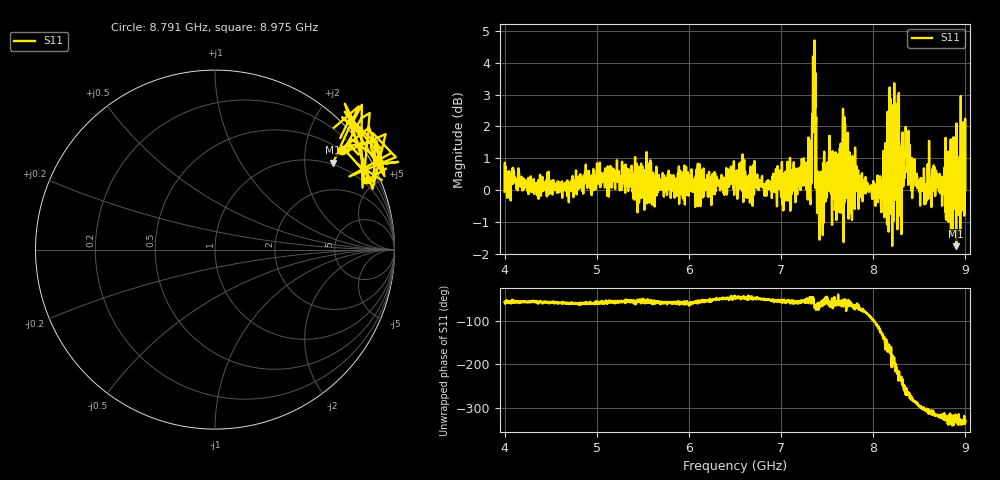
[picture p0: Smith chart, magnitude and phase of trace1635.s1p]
! Created with skrf 1.8.0 (http://scikit-rf.org).
# Hz S RI R 50.0
!freq ReS11 ImS11
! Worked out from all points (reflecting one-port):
!   1601 points, 4 GHz to 9 GHz, reference 50 ohm
!   lowest |S11| = -1.8 dB at 8.9 GHz (marker M1), VSWR 9.92, Z = 47.4 + j138 ohm
!   phase of S11 starts at -58 deg and turns -270 deg over the sweep
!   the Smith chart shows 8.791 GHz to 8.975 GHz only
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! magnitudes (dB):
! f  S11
! 4 GHz  0.0
! 4.625 GHz  -0.2
! 5.25 GHz  0.0
! 5.875 GHz  0.2
! 6.5 GHz  0.5
! 7.125 GHz  0.3
! 7.297 GHz  1.7
! 7.356 GHz  3.9
! 7.381 GHz  2.3
! 7.4 GHz  0.6
! 7.412 GHz  -0.7
! 7.512 GHz  0.9
! 7.575 GHz  0.7
! 7.65 GHz  1.3
! 7.75 GHz  0.0
! 8.069 GHz  0.0
! 8.147 GHz  0.7
! 8.153 GHz  -0.1
! 8.228 GHz  3.4
! 8.253 GHz  1.1
! 8.312 GHz  1.5
! 8.334 GHz  0.7
! 8.375 GHz  1.0
! 8.419 GHz  1.0
! 8.556 GHz  -0.4
! 8.9 GHz  -1.8
! 8.972 GHz  0.4
! 9 GHz  0.0
